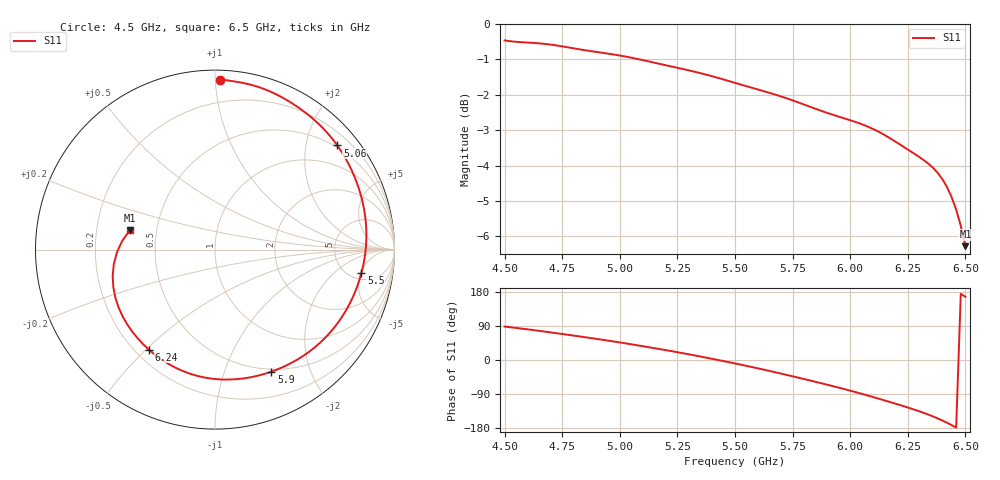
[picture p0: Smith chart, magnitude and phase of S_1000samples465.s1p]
! TOUCHSTONE file generated by CST MICROWAVE STUDIO
! Date and time: Fri Oct 28 06:23:28 2022
! Project name: L.cst
! Parameters = {Di=1.27; Epsilon_r=1.56; InnerDiameter=1.27; Length=2; Lf=10; Lg=60; OuterConductorThickness=0.2921; OuterDiameter=3.6; Wf=3; Wp=41.2; de=1.5; df=6.8; g=0.8; gx=2.90595; gy=3.1494; h=2.34; hf=1.524; px=10.212; py=12.9506; w=9.7; wx=7.30608; wy=9.80124}
! Header version: 2018
! Port assignment regex: !\s*Touchstone port\s*([0-9]+)\s*=\s*(CST MWS port|CST DS port)\s*([0-9]+|Zmin|Zmax)\s*\(\"(.*)\"\)(\s*mode\s*([0-9]+))?.*
! Touchstone port assignment:
! Touchstone port 1 = CST MWS port 1 ("")
# GHz S DB R 50
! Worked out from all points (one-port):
!   101 points, 4.5 GHz to 6.5 GHz, reference 50 ohm
!   lowest |S11| = -6.3 dB at 6.5 GHz (marker M1), VSWR 2.89, Z = 17.5 + j5.03 ohm
!   |S11| at or under -10 dB: nowhere
!   S11 on the Smith chart (normalised r, x): 4.5 GHz: 0.05, +1.03; 5.06 GHz: 0.45, +2.65; 5.5 GHz: 6.20, -5.12; 5.9 GHz: 0.47, -1.46; 6.24 GHz: 0.25, -0.51; 6.5 GHz: 0.35, +0.10
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4.5  -0.46 88.2
4.64  -0.54 77.7
4.76  -0.64 67.8
4.88  -0.77 57.4
5  -0.89 46.3
5.06  -0.96 40.4
5.16  -1.11 30.2
5.26  -1.25 19.5
5.38  -1.44 5.6
5.44  -1.55 -1.7
5.5  -1.66 -9.1
5.58  -1.81 -19.5
5.64  -1.92 -27.5
5.7  -2.05 -35.9
5.76  -2.18 -44.5
5.84  -2.37 -56.2
5.9  -2.51 -65.2
6  -2.72 -80.9
6.06  -2.85 -90.9
6.12  -3.03 -101.4
6.18  -3.25 -112.2
6.24  -3.50 -123.4
6.26  -3.59 -127.3
6.34  -3.95 -144.3
6.4  -4.38 -159.7
6.44  -4.88 -171.7
6.46  -5.24 -178.4
6.5  -6.28 166.9
